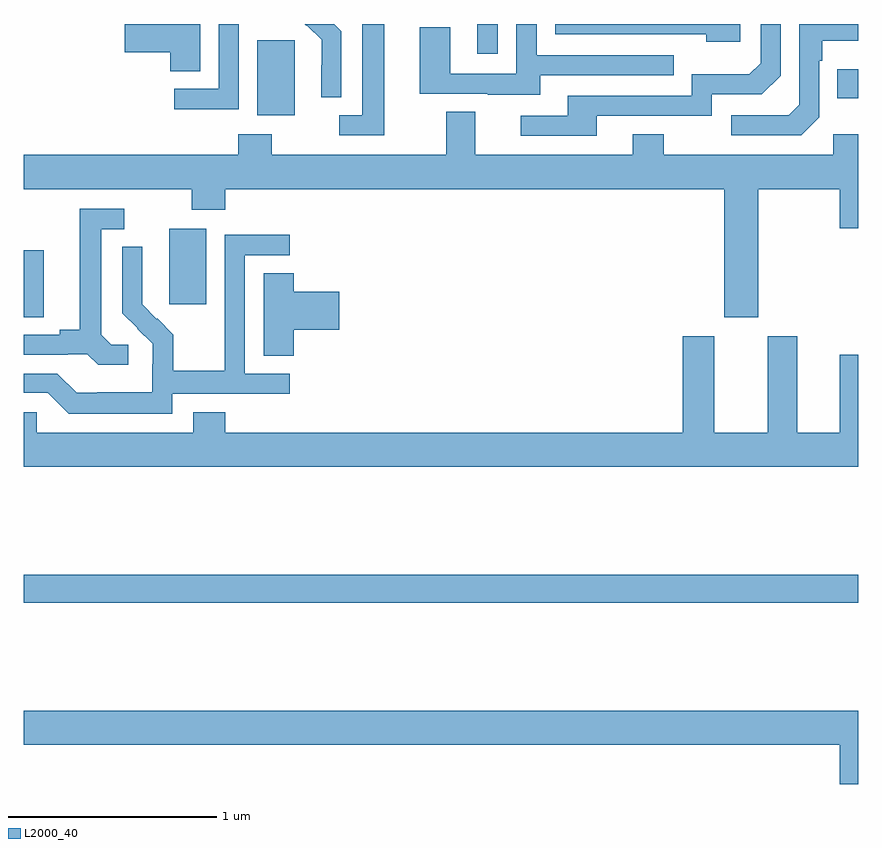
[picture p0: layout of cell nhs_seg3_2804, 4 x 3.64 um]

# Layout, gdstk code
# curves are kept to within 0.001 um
import gdstk
lib = gdstk.Library(unit=1e-6, precision=1e-09)
def R(c, l, rs):  # rectangles x0, y0, x1, y1
    for r in rs: c.add(gdstk.rectangle(r[:2], r[2:], *l))
def P(c, l, *ps):  # polygons
    for p in ps: c.add(gdstk.Polygon(p, *l))
L2000_40 = (2000, 40)

nhs_seg3_2804 = lib.new_cell('nhs_seg3_2804')
R(nhs_seg3_2804, L2000_40, [(257,673.624,261,673.76), (257,674.995,257.095,675.315), (257.696,675.057,257.875,675.418), (258.119,675.962,258.298,676.323), (260.899,676.043,261,676.183), (259.175,676.257,259.272,676.4)])
P(nhs_seg3_2804, L2000_40, [(257.845,676.4),(257.484,676.4),(257.484,676.265),(257.702,676.265),(257.702,676.174),(257.845,676.174)],
  [(258.727,676.4),(258.623,676.4),(258.623,675.963),(258.513,675.963),(258.513,675.867),(258.727,675.867)],
  [(259.477,676.155),(260.117,676.155),(260.117,676.251),(259.458,676.251),(259.458,676.4),(259.362,676.4),(259.362,676.161),(259.044,676.161),(259.044,676.385),(258.899,676.385),(258.899,676.065),(259.223,676.065),(259.223,676.061),(259.477,676.061)],
  [(259.747,675.96),(260.298,675.96),(260.298,676.062),(260.538,676.062),(260.628,676.152),(260.628,676.4),(260.532,676.4),(260.532,676.212),(260.479,676.159),(260.202,676.159),(260.202,676.056),(259.607,676.056),(259.607,675.96),(259.383,675.96),(259.383,675.864),(259.747,675.864)],
  [(260.814,675.954),(260.814,676.223),(260.827,676.223),(260.827,676.319),(261,676.319),(261,676.4),(260.718,676.4),(260.718,676.014),(260.667,675.963),(260.391,675.963),(260.391,675.867),(260.727,675.867)],
  [(258.03,676.4),(257.934,676.4),(257.934,676.089),(257.721,676.089),(257.721,675.991),(258.03,675.991)],
  [(258.522,676.366),(258.488,676.4),(258.346,676.4),(258.354,676.392),(258.357,676.395),(258.428,676.325),(258.428,676.202),(258.426,676.202),(258.426,676.048),(258.522,676.048)],
  [(260.434,676.4),(259.548,676.4),(259.548,676.35),(260.273,676.35),(260.273,676.316),(260.434,676.316)],
  [(260.521,675.608),(260.912,675.608),(260.912,675.42),(261,675.42),(261,675.871),(260.88,675.871),(260.88,675.772),(260.067,675.772),(260.067,675.871),(259.919,675.871),(259.919,675.772),(259.165,675.772),(259.165,675.98),(259.025,675.98),(259.025,675.772),(258.189,675.772),(258.189,675.871),(258.029,675.871),(258.029,675.772),(257,675.772),(257,675.608),(257.806,675.608),(257.806,675.509),(257.966,675.509),(257.966,675.608),(260.357,675.608),(260.357,674.994),(260.521,674.994)],
  [(257.5,674.862),(257.418,674.862),(257.371,674.909),(257.371,675.417),(257.482,675.417),(257.482,675.513),(257.267,675.513),(257.267,674.933),(257.171,674.933),(257.171,674.91),(257,674.91),(257,674.814),(257.21,674.814),(257.21,674.817),(257.304,674.817),(257.356,674.765),(257.5,674.765)],
  [(257.712,674.628),(258.274,674.628),(258.274,674.724),(258.06,674.724),(258.06,675.291),(258.274,675.291),(258.274,675.39),(257.964,675.39),(257.964,674.96),(257.962,674.96),(257.962,674.737),(257.717,674.737),(257.717,674.911),(257.64,674.988),(257.637,674.985),(257.567,675.056),(257.568,675.332),(257.472,675.332),(257.472,675.014),(257.618,674.866),(257.618,674.769),(257.616,674.769),(257.616,674.635),(257.353,674.635),(257.353,674.631),(257.253,674.631),(257.16,674.724),(257,674.724),(257,674.631),(257.115,674.631),(257.215,674.531),(257.712,674.531)],
  [(258.293,674.933),(258.511,674.933),(258.511,675.116),(258.293,675.116),(258.293,675.206),(258.149,675.206),(258.149,674.809),(258.293,674.809)],
  [(261,674.815),(260.912,674.815),(260.912,674.44),(260.707,674.44),(260.707,674.902),(260.567,674.902),(260.567,674.44),(260.311,674.44),(260.311,674.902),(260.159,674.902),(260.159,674.44),(257.966,674.44),(257.966,674.539),(257.813,674.539),(257.813,674.44),(257.061,674.44),(257.061,674.538),(257,674.538),(257,674.276),(261,674.276)],
  [(261,673.108),(257,673.108),(257,672.944),(260.912,672.944),(260.912,672.756),(261,672.756)])

lib.write_gds('nhs_seg3_2804.gds')
